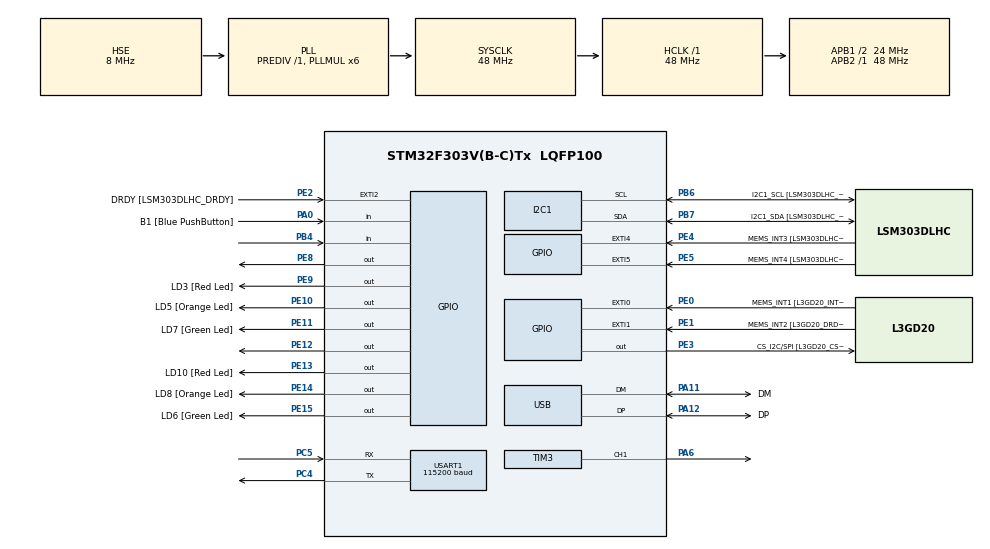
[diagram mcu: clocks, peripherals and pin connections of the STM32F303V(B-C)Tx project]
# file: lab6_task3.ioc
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I2C1.Timing=0x00201D2B
I2C1.Timing-I2C=0x2000090E
Mcu.Family=STM32F3
Mcu.Name=STM32F303V(B-C)Tx
Mcu.Package=LQFP100
NVIC.PriorityGroup=NVIC_PRIORITYGROUP_0
PA0.GPIO_Label=B1 [Blue PushButton]
PA0.Signal=GPIO_Input
PA11.GPIO_Label=DM
PA11.Mode=Device
PA11.Signal=USB_DM
PA12.GPIO_Label=DP
PA12.Mode=Device
PA12.Signal=USB_DP
PA13.GPIO_Label=SWDIO
PA13.Mode=Serial_Wire
PA13.Signal=SYS_JTMS-SWDIO
PA14.GPIO_Label=SWCLK
PA14.Mode=Serial_Wire
PA14.Signal=SYS_JTCK-SWCLK
PA5.GPIO_Label=SPI1_SCK [L3GD20_SCL/SPC]
PA5.Signal=SPI1_SCK
PA6.Signal=S_TIM3_CH1
PA7.GPIO_Label=SPI1_MISO [L3GD20_SDA/SDI/SDO]
PA7.Signal=SPI1_MOSI
PB3.GPIO_Label=SWO
PB3.Signal=SYS_JTDO-TRACESWO
PB4.Signal=GPIO_Input
PB6.GPIO_Label=I2C1_SCL [LSM303DLHC_SCL]
PB6.GPIO_Pu=GPIO_PULLUP
PB6.Mode=I2C
PB6.Signal=I2C1_SCL
PB7.GPIO_Label=I2C1_SDA [LSM303DLHC_SDA]
PB7.GPIO_Pu=GPIO_PULLUP
PB7.Mode=I2C
PB7.Signal=I2C1_SDA
PC14-OSC32_IN.GPIO_Label=OSC32_IN
PC14-OSC32_IN.Signal=RCC_OSC32_IN
PC15-OSC32_OUT.GPIO_Label=OSC32_OUT
PC15-OSC32_OUT.Signal=RCC_OSC32_OUT
PC4.Mode=Asynchronous
PC4.Signal=USART1_TX
PC5.Mode=Asynchronous
PC5.Signal=USART1_RX
PE0.GPIO_Label=MEMS_INT1 [L3GD20_INT1]
PE0.GPIO_ModeDefaultEXTI=GPIO_MODE_EVT_RISING
PE0.Signal=GPXTI0
PE1.GPIO_Label=MEMS_INT2 [L3GD20_DRDY/INT2]
PE1.GPIO_ModeDefaultEXTI=GPIO_MODE_EVT_RISING
PE1.Signal=GPXTI1
PE10.GPIO_Label=LD5 [Orange Led]
PE10.Signal=GPIO_Output
PE11.GPIO_Label=LD7 [Green Led]
PE11.Signal=GPIO_Output
PE12.Signal=GPIO_Output
PE13.GPIO_Label=LD10 [Red Led]
PE13.Signal=GPIO_Output
PE14.GPIO_Label=LD8 [Orange Led]
PE14.Signal=GPIO_Output
PE15.GPIO_Label=LD6 [Green Led]
PE15.Signal=GPIO_Output
PE2.GPIO_Label=DRDY [LSM303DLHC_DRDY]
PE2.GPIO_ModeDefaultEXTI=GPIO_MODE_EVT_RISING
PE2.Signal=GPXTI2
PE3.GPIO_Label=CS_I2C/SPI [L3GD20_CS_I2C/SPI]
PE3.Signal=GPIO_Output
PE4.GPIO_Label=MEMS_INT3 [LSM303DLHC_INT1]
PE4.GPIO_ModeDefaultEXTI=GPIO_MODE_EVT_RISING
PE4.Signal=GPXTI4
PE5.GPIO_Label=MEMS_INT4 [LSM303DLHC_INT2]
PE5.GPIO_ModeDefaultEXTI=GPIO_MODE_EVT_RISING
PE5.Signal=GPXTI5
PE8.Signal=GPIO_Output
PE9.GPIO_Label=LD3 [Red Led]
PE9.Signal=GPIO_Output
PF0-OSC_IN.GPIO_Label=OSC_IN
PF0-OSC_IN.Mode=HSE-External-Clock-Source
PF0-OSC_IN.Signal=RCC_OSC_IN
PF1-OSC_OUT.GPIO_Label=OSC_OUT
PF1-OSC_OUT.Signal=RCC_OSC_OUT
ProjectManager.HeapSize=0x200
ProjectManager.StackSize=0x400
ProjectManager.TargetToolchain=CMake
RCC.AHBFreq_Value=48000000
RCC.APB1CLKDivider=RCC_HCLK_DIV2
RCC.APB1Freq_Value=24000000
RCC.APB1TimFreq_Value=48000000
RCC.APB2Freq_Value=48000000
RCC.APB2TimFreq_Value=48000000
RCC.CortexFreq_Value=48000000
RCC.HCLKFreq_Value=48000000
RCC.HSE_VALUE=8000000
RCC.HSI_VALUE=8000000
RCC.LSE_VALUE=32768
RCC.PLLMUL=RCC_PLL_MUL6
RCC.SYSCLKFreq_VALUE=48000000
RCC.SYSCLKSourceVirtual=RCC_SYSCLKSOURCE_PLLCLK
RCC.USBFreq_Value=48000000
SH.S_TIM3_CH1.0=TIM3_CH1,PWM Generation1 CH1
TIM2.Prescaler=71
TIM3.Channel-PWM\ Generation1\ CH1=TIM_CHANNEL_1
TIM3.Period=999
TIM3.Prescaler=71
USART1.BaudRate=115200
USART1.VirtualMode-Asynchronous=VM_ASYNC
VP_TIM2_VS_ClockSourceINT.Mode=Internal
VP_TIM3_VS_ClockSourceINT.Mode=Internal
board=STM32F3DISCOVERY

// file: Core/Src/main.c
/* USER CODE BEGIN Header */
/**
  ******************************************************************************
  * @file           : main.c
  * @brief          : Lab 6 Task 3 - Motor RPM using Polling (Fixed)
  ******************************************************************************
  */
/* USER CODE END Header */
#include "main.h"

/* USER CODE BEGIN Includes */
#include <stdio.h> // Needed for sprintf
/* USER CODE END Includes */

I2C_HandleTypeDef hi2c1;
TIM_HandleTypeDef htim2;
TIM_HandleTypeDef htim3;
UART_HandleTypeDef huart1;
PCD_HandleTypeDef hpcd_USB_FS;

/* USER CODE BEGIN PV */
// Pulses Per Revolution (standard for yellow TT motors) - adjust to your encoder.
// If the reported RPM is too high, increase this value (or calibrate empirically).
#define PPR 45.0f

// Optional scaling factor if your measurement sees both rising and falling edges.
#define ENCODER_EDGE_FACTOR 1.0f   // 1.0 for one edge-per-pulse, 2.0 if counting both edges

// Protect against impossible values from bounces / noise.
#define MAX_VALID_RPM 20000.0f

uint32_t encoder_ticks = 0;
float encoder_freq = 0.0f;
float motor_rpm = 0.0f;

// Moving average smoothing buffer.
#define RPM_BUFFER_SIZE 8
float rpm_buffer[RPM_BUFFER_SIZE] = {0};
uint8_t rpm_buffer_idx = 0;
/* USER CODE END PV */

void SystemClock_Config(void);
static void MX_GPIO_Init(void);
static void MX_I2C1_Init(void);
static void MX_TIM2_Init(void);
static void MX_TIM3_Init(void);
static void MX_USART1_UART_Init(void);
static void MX_USB_PCD_Init(void);

int main(void)
{

  /* MCU Configuration--------------------------------------------------------*/

  /* Reset of all peripherals, Initializes the Flash interface and the Systick. */
  HAL_Init();

  /* Configure the system clock */
  SystemClock_Config();

  /* Initialize all configured peripherals */
  // Notice: MX_SPI1_Init(); has been completely removed!
  MX_GPIO_Init();
  MX_I2C1_Init();
  MX_TIM2_Init();
  MX_TIM3_Init();
  MX_USART1_UART_Init();
  MX_USB_PCD_Init();

  /* USER CODE BEGIN 2 */

  char msg[100];

  // 1. Start the PWM signal on TIM3 Channel 1 (Pin PA6)
  HAL_TIM_PWM_Start(&htim3, TIM_CHANNEL_1);

  // 2. Set motor to spin Forward (PE8 = HIGH, PE12 = LOW)
  HAL_GPIO_WritePin(GPIOE, GPIO_PIN_8, GPIO_PIN_SET);
  HAL_GPIO_WritePin(GPIOE, GPIO_PIN_12, GPIO_PIN_RESET);

  // 3. Set PWM Duty Cycle to 50% (Speed). Your ARR is 999, so half speed is ~500.
  __HAL_TIM_SET_COMPARE(&htim3, TIM_CHANNEL_1, 500);

  // Give the motor a half-second to spin up to speed
  HAL_Delay(500);

  /* USER CODE END 2 */

  /* Infinite loop */
  while (1)
  {

    /* USER CODE BEGIN 3 */

    // =================================================================
    // 1. POLLING FOR THE FIRST FALLING EDGE
    // =================================================================

    // Trap the CPU here until the encoder pulse goes HIGH
    while(HAL_GPIO_ReadPin(GPIOB, GPIO_PIN_4) == GPIO_PIN_RESET) {}

    // Trap the CPU here until the pulse drops LOW (This is our first edge!)
    while(HAL_GPIO_ReadPin(GPIOB, GPIO_PIN_4) == GPIO_PIN_SET) {}

    // Instantly reset the stopwatch to 0 and start counting microseconds
    __HAL_TIM_SET_COUNTER(&htim2, 0);
    HAL_TIM_Base_Start(&htim2);

    // =================================================================
    // 2. POLLING FOR THE SECOND FALLING EDGE
    // =================================================================

    // Trap the CPU here until the pulse goes HIGH again
    while(HAL_GPIO_ReadPin(GPIOB, GPIO_PIN_4) == GPIO_PIN_RESET) {}

    // Trap the CPU here until the pulse drops LOW (This is our second edge!)
    while(HAL_GPIO_ReadPin(GPIOB, GPIO_PIN_4) == GPIO_PIN_SET) {}

    // Stop the stopwatch and read the exact number of microseconds that passed
    HAL_TIM_Base_Stop(&htim2);
    encoder_ticks = __HAL_TIM_GET_COUNTER(&htim2);

    // =================================================================
    // 3. CALCULATE RPM AND PRINT
    // =================================================================

    if (encoder_ticks > 0)
    {
        // Measured time is microseconds for one encoder pulse (one falling edge to next).
        encoder_freq = 1000000.0f / (float)encoder_ticks;

        // EdgeFactor = 1.0 if we only count one edge type. Set 2.0 if you compute both rising and falling.
        float effective_ppr = PPR * ENCODER_EDGE_FACTOR;

        // Calculate RPM: (60 sec * Frequency) / pulses-per-rev
        float raw_rpm = (60.0f * encoder_freq) / effective_ppr;

        // Clamp to avoid noise or glitches giving nonsense high values.
        if (raw_rpm < 0.0f) raw_rpm = 0.0f;
        if (raw_rpm > MAX_VALID_RPM) raw_rpm = MAX_VALID_RPM;

        // Keep a small moving average to smooth jitter.
        rpm_buffer[rpm_buffer_idx++] = raw_rpm;
        if (rpm_buffer_idx >= RPM_BUFFER_SIZE) {
            rpm_buffer_idx = 0;
        }
        float rpm_sum = 0.0f;
        for (int i = 0; i < RPM_BUFFER_SIZE; i++) {
            rpm_sum += rpm_buffer[i];
        }
        motor_rpm = rpm_sum / RPM_BUFFER_SIZE;
    }

    // Format the text and send it to your computer via USB UART
    int len = sprintf(msg, "Freq: %d Hz | Speed: %d RPM\r\n", (int)encoder_freq, (int)motor_rpm);
    HAL_UART_Transmit(&huart1, (uint8_t*)msg, len, HAL_MAX_DELAY);

    // Wait a short moment so we don't flood the terminal
    HAL_Delay(100);

  }
  /* USER CODE END 3 */
}

void SystemClock_Config(void)
{
  RCC_OscInitTypeDef RCC_OscInitStruct = {0};
  RCC_ClkInitTypeDef RCC_ClkInitStruct = {0};
  RCC_PeriphCLKInitTypeDef PeriphClkInit = {0};

  RCC_OscInitStruct.OscillatorType = RCC_OSCILLATORTYPE_HSI|RCC_OSCILLATORTYPE_HSE;
  RCC_OscInitStruct.HSEState = RCC_HSE_BYPASS;
  RCC_OscInitStruct.HSEPredivValue = RCC_HSE_PREDIV_DIV1;
  RCC_OscInitStruct.HSIState = RCC_HSI_ON;
  RCC_OscInitStruct.HSICalibrationValue = RCC_HSICALIBRATION_DEFAULT;
  RCC_OscInitStruct.PLL.PLLState = RCC_PLL_ON;
  RCC_OscInitStruct.PLL.PLLSource = RCC_PLLSOURCE_HSE;
  RCC_OscInitStruct.PLL.PLLMUL = RCC_PLL_MUL6;
  if (HAL_RCC_OscConfig(&RCC_OscInitStruct) != HAL_OK)
  {
    Error_Handler();
  }

  RCC_ClkInitStruct.ClockType = RCC_CLOCKTYPE_HCLK|RCC_CLOCKTYPE_SYSCLK
                              |RCC_CLOCKTYPE_PCLK1|RCC_CLOCKTYPE_PCLK2;
  RCC_ClkInitStruct.SYSCLKSource = RCC_SYSCLKSOURCE_PLLCLK;
  RCC_ClkInitStruct.AHBCLKDivider = RCC_SYSCLK_DIV1;
  RCC_ClkInitStruct.APB1CLKDivider = RCC_HCLK_DIV2;
  RCC_ClkInitStruct.APB2CLKDivider = RCC_HCLK_DIV1;

  if (HAL_RCC_ClockConfig(&RCC_ClkInitStruct, FLASH_LATENCY_1) != HAL_OK)
  {
    Error_Handler();
  }
  PeriphClkInit.PeriphClockSelection = RCC_PERIPHCLK_USB|RCC_PERIPHCLK_USART1
                              |RCC_PERIPHCLK_I2C1;
  PeriphClkInit.Usart1ClockSelection = RCC_USART1CLKSOURCE_PCLK2;
  PeriphClkInit.I2c1ClockSelection = RCC_I2C1CLKSOURCE_HSI;
  PeriphClkInit.USBClockSelection = RCC_USBCLKSOURCE_PLL;
  if (HAL_RCCEx_PeriphCLKConfig(&PeriphClkInit) != HAL_OK)
  {
    Error_Handler();
  }
}

static void MX_I2C1_Init(void)
{
  hi2c1.Instance = I2C1;
  hi2c1.Init.Timing = 0x00201D2B;
  hi2c1.Init.OwnAddress1 = 0;
  hi2c1.Init.AddressingMode = I2C_ADDRESSINGMODE_7BIT;
  hi2c1.Init.DualAddressMode = I2C_DUALADDRESS_DISABLE;
  hi2c1.Init.OwnAddress2 = 0;
  hi2c1.Init.OwnAddress2Masks = I2C_OA2_NOMASK;
  hi2c1.Init.GeneralCallMode = I2C_GENERALCALL_DISABLE;
  hi2c1.Init.NoStretchMode = I2C_NOSTRETCH_DISABLE;
  if (HAL_I2C_Init(&hi2c1) != HAL_OK)
  {
    Error_Handler();
  }
  if (HAL_I2CEx_ConfigAnalogFilter(&hi2c1, I2C_ANALOGFILTER_ENABLE) != HAL_OK)
  {
    Error_Handler();
  }
  if (HAL_I2CEx_ConfigDigitalFilter(&hi2c1, 0) != HAL_OK)
  {
    Error_Handler();
  }
}

static void MX_TIM2_Init(void)
{
  TIM_ClockConfigTypeDef sClockSourceConfig = {0};
  TIM_MasterConfigTypeDef sMasterConfig = {0};

  htim2.Instance = TIM2;
  htim2.Init.Prescaler = 47;
  htim2.Init.CounterMode = TIM_COUNTERMODE_UP;
  htim2.Init.Period = 4294967295;
  htim2.Init.ClockDivision = TIM_CLOCKDIVISION_DIV1;
  htim2.Init.AutoReloadPreload = TIM_AUTORELOAD_PRELOAD_DISABLE;
  if (HAL_TIM_Base_Init(&htim2) != HAL_OK)
  {
    Error_Handler();
  }
  sClockSourceConfig.ClockSource = TIM_CLOCKSOURCE_INTERNAL;
  if (HAL_TIM_ConfigClockSource(&htim2, &sClockSourceConfig) != HAL_OK)
  {
    Error_Handler();
  }
  sMasterConfig.MasterOutputTrigger = TIM_TRGO_RESET;
  sMasterConfig.MasterSlaveMode = TIM_MASTERSLAVEMODE_DISABLE;
  if (HAL_TIMEx_MasterConfigSynchronization(&htim2, &sMasterConfig) != HAL_OK)
  {
    Error_Handler();
  }
}

static void MX_TIM3_Init(void)
{
  TIM_ClockConfigTypeDef sClockSourceConfig = {0};
  TIM_MasterConfigTypeDef sMasterConfig = {0};
  TIM_OC_InitTypeDef sConfigOC = {0};

  htim3.Instance = TIM3;
  htim3.Init.Prescaler = 71;
  htim3.Init.CounterMode = TIM_COUNTERMODE_UP;
  htim3.Init.Period = 999;
  htim3.Init.ClockDivision = TIM_CLOCKDIVISION_DIV1;
  htim3.Init.AutoReloadPreload = TIM_AUTORELOAD_PRELOAD_DISABLE;
  if (HAL_TIM_Base_Init(&htim3) != HAL_OK)
  {
    Error_Handler();
  }
  sClockSourceConfig.ClockSource = TIM_CLOCKSOURCE_INTERNAL;
  if (HAL_TIM_ConfigClockSource(&htim3, &sClockSourceConfig) != HAL_OK)
  {
    Error_Handler();
  }
  if (HAL_TIM_PWM_Init(&htim3) != HAL_OK)
  {
    Error_Handler();
  }
  sMasterConfig.MasterOutputTrigger = TIM_TRGO_RESET;
  sMasterConfig.MasterSlaveMode = TIM_MASTERSLAVEMODE_DISABLE;
  if (HAL_TIMEx_MasterConfigSynchronization(&htim3, &sMasterConfig) != HAL_OK)
  {
    Error_Handler();
  }
  sConfigOC.OCMode = TIM_OCMODE_PWM1;
  sConfigOC.Pulse = 0;
  sConfigOC.OCPolarity = TIM_OCPOLARITY_HIGH;
  sConfigOC.OCFastMode = TIM_OCFAST_DISABLE;
  if (HAL_TIM_PWM_ConfigChannel(&htim3, &sConfigOC, TIM_CHANNEL_1) != HAL_OK)
  {
    Error_Handler();
  }
  HAL_TIM_MspPostInit(&htim3);
}

static void MX_USART1_UART_Init(void)
{
  huart1.Instance = USART1;
  huart1.Init.BaudRate = 115200;
  huart1.Init.WordLength = UART_WORDLENGTH_8B;
  huart1.Init.StopBits = UART_STOPBITS_1;
  huart1.Init.Parity = UART_PARITY_NONE;
  huart1.Init.Mode = UART_MODE_TX_RX;
  huart1.Init.HwFlowCtl = UART_HWCONTROL_NONE;
  huart1.Init.OverSampling = UART_OVERSAMPLING_16;
  huart1.Init.OneBitSampling = UART_ONE_BIT_SAMPLE_DISABLE;
  huart1.AdvancedInit.AdvFeatureInit = UART_ADVFEATURE_NO_INIT;
  if (HAL_UART_Init(&huart1) != HAL_OK)
  {
    Error_Handler();
  }
}

static void MX_USB_PCD_Init(void)
{
  hpcd_USB_FS.Instance = USB;
  hpcd_USB_FS.Init.dev_endpoints = 8;
  hpcd_USB_FS.Init.speed = PCD_SPEED_FULL;
  hpcd_USB_FS.Init.phy_itface = PCD_PHY_EMBEDDED;
  hpcd_USB_FS.Init.low_power_enable = DISABLE;
  hpcd_USB_FS.Init.battery_charging_enable = DISABLE;
  if (HAL_PCD_Init(&hpcd_USB_FS) != HAL_OK)
  {
    Error_Handler();
  }
}

static void MX_GPIO_Init(void)
{
  GPIO_InitTypeDef GPIO_InitStruct = {0};

  /* GPIO Ports Clock Enable */
  __HAL_RCC_GPIOE_CLK_ENABLE();
  __HAL_RCC_GPIOC_CLK_ENABLE();
  __HAL_RCC_GPIOF_CLK_ENABLE();
  __HAL_RCC_GPIOA_CLK_ENABLE();
  __HAL_RCC_GPIOB_CLK_ENABLE();

  /*Configure GPIO pin Output Level */
  HAL_GPIO_WritePin(GPIOE, CS_I2C_SPI_Pin|GPIO_PIN_8|LD3_Pin|LD5_Pin
                          |LD7_Pin|GPIO_PIN_12|LD10_Pin|LD8_Pin
                          |LD6_Pin, GPIO_PIN_RESET);

  /*Configure GPIO pins : DRDY_Pin MEMS_INT3_Pin MEMS_INT4_Pin MEMS_INT1_Pin
                           MEMS_INT2_Pin */
  GPIO_InitStruct.Pin = DRDY_Pin|MEMS_INT3_Pin|MEMS_INT4_Pin|MEMS_INT1_Pin
                          |MEMS_INT2_Pin;
  GPIO_InitStruct.Mode = GPIO_MODE_EVT_RISING;
  GPIO_InitStruct.Pull = GPIO_NOPULL;
  HAL_GPIO_Init(GPIOE, &GPIO_InitStruct);

  /*Configure GPIO pins : CS_I2C_SPI_Pin PE8 LD3_Pin LD5_Pin
                           LD7_Pin PE12 LD10_Pin LD8_Pin
                           LD6_Pin */
  GPIO_InitStruct.Pin = CS_I2C_SPI_Pin|GPIO_PIN_8|LD3_Pin|LD5_Pin
                          |LD7_Pin|GPIO_PIN_12|LD10_Pin|LD8_Pin
                          |LD6_Pin;
  GPIO_InitStruct.Mode = GPIO_MODE_OUTPUT_PP;
  GPIO_InitStruct.Pull = GPIO_NOPULL;
  GPIO_InitStruct.Speed = GPIO_SPEED_FREQ_LOW;
  HAL_GPIO_Init(GPIOE, &GPIO_InitStruct);

  /*Configure GPIO pin : B1_Pin */
  GPIO_InitStruct.Pin = B1_Pin;
  GPIO_InitStruct.Mode = GPIO_MODE_INPUT;
  GPIO_InitStruct.Pull = GPIO_NOPULL;
  HAL_GPIO_Init(B1_GPIO_Port, &GPIO_InitStruct);

  /*Configure GPIO pin : PB4 (Encoder pin!) */
  GPIO_InitStruct.Pin = GPIO_PIN_4;
  GPIO_InitStruct.Mode = GPIO_MODE_INPUT;
  GPIO_InitStruct.Pull = GPIO_NOPULL;
  HAL_GPIO_Init(GPIOB, &GPIO_InitStruct);
}

void Error_Handler(void)
{
  __disable_irq();
  while (1)
  {
  }
}
